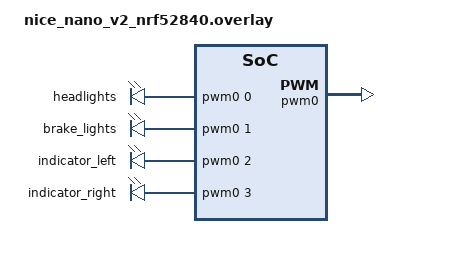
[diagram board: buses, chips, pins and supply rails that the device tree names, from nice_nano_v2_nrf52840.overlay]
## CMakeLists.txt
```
cmake_minimum_required(VERSION 3.20.0)
find_package(Zephyr REQUIRED HINTS $ENV{ZEPHYR_BASE})

project(BikeLightsFirmware)

target_sources(app PRIVATE src/main.c src/ble.c src/dfu.c src/led.c src/config.c)
target_include_directories(app PRIVATE src)
```

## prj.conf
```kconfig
# Enable Drivers
CONFIG_BT=y
CONFIG_LED=y
CONFIG_PWM=y
CONFIG_LED_PWM=y

# Configure Logging
CONFIG_LOG=y
CONFIG_LOG_PRINTK=y
CONFIG_LOG_BACKEND_BLE=y
CONFIG_LOG_PROCESS_THREAD_STACK_SIZE=2048

# Configure Bluetooth Peripheral
CONFIG_BT_SMP=y
CONFIG_BT_PERIPHERAL=y
CONFIG_BT_DEVICE_NAME="ThinkAlex - Bike Lights"
CONFIG_BT_MAX_CONN=1
CONFIG_BT_MAX_PAIRED=1

# Configure settings
CONFIG_SETTINGS_RUNTIME=y
```

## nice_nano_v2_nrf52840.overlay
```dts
// To get started, press Ctrl+Space (or Option+Esc) to bring up the completion menu and view the available nodes.

// You can also use the buttons in the sidebar to perform actions on nodes.
// Actions currently available include:

// * Enabling / disabling the node
// * Adding the bus to a bus
// * Removing the node
// * Connecting ADC channels

// For more help, browse the DeviceTree documentation at https://docs.zephyrproject.org/latest/guides/dts/index.html
// You can also visit the nRF DeviceTree extension documentation at https://docs.nordicsemi.com/bundle/nrf-connect-vscode/page/guides/ncs_configure_app.html#devicetree-support-in-the-extension

/ {
    pwmleds {
        compatible = "pwm-leds";
        headlights: pwm_led_0 {
            label = "headlights";
            pwms = <&pwm0 0 PWM_KHZ(1) PWM_POLARITY_NORMAL>;
        };
        brake_lights: pwm_led_1 {
            label = "brake_lights";
            pwms = <&pwm0 1 PWM_KHZ(1) PWM_POLARITY_NORMAL>;
        };
        indicator_left: pwm_led_2 {
            label = "indicator_left";
            pwms = <&pwm0 2 PWM_KHZ(1) PWM_POLARITY_NORMAL>;
        };
        indicator_right: pwm_led_3 {
            label = "indicator_right";
            pwms = <&pwm0 3 PWM_KHZ(1) PWM_POLARITY_NORMAL>;
        };
    };
};

&pwm0 {
	status = "okay";
	pinctrl-0 = <&pwm0_default>;
	pinctrl-1 = <&pwm0_sleep>;
	pinctrl-names = "default", "sleep";
};

&pwm0_default {
    group1 {
        psels = <NRF_PSEL(PWM_OUT0, 1, 13)>,
                <NRF_PSEL(PWM_OUT1, 0, 15)>,
                <NRF_PSEL(PWM_OUT2, 1, 11)>;
    };

    group2 {
        psels = <NRF_PSEL(PWM_OUT3, 0, 10)>;
    };
};
```

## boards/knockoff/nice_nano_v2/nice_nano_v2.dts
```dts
/ {
    model = "nice_nano_v2";
     compatible = "knockoff,nice_nano_v2";
 
     chosen {
         zephyr,code-partition = &code_partition;
         zephyr,sram = &sram0;
         zephyr,flash = &flash0;
         zephyr,console = &cdc_acm_uart0;
         zephyr,shell-uart = &cdc_acm_uart0;
     };
 
     leds {
         compatible = "gpio-leds";
         red_led: led_0 {
             gpios = <&gpio0 15 GPIO_ACTIVE_HIGH>;
         };
     };

    pro_micro: connector {
        compatible = "arduino-pro-micro";
        #gpio-cells = <2>;
        gpio-map-mask = <0xffffffff 0xffffffc0>;
        gpio-map-pass-thru = <0 0x3f>;
        gpio-map
            = <0 0 &gpio0 8 0>      /* D0 */
            , <1 0 &gpio0 6 0>      /* D1 */
            , <2 0 &gpio0 17 0>     /* D2 */
            , <3 0 &gpio0 20 0>     /* D3 */
            , <4 0 &gpio0 22 0>     /* D4/A6 */
            , <5 0 &gpio0 24 0>     /* D5 */
            , <6 0 &gpio1 0 0>      /* D6/A7 */
            , <7 0 &gpio0 11 0>     /* D7 */
            , <8 0 &gpio1 4 0>      /* D8/A8 */
            , <9 0 &gpio1 6 0>      /* D9/A9 */
            , <10 0 &gpio0 9 0>     /* D10/A10 */
            , <16 0 &gpio0 10 0>    /* D16 */
            , <14 0 &gpio1 11 0>    /* D14 */
            , <15 0 &gpio1 13 0>    /* D15 */
            , <18 0 &gpio1 15 0>    /* D18/A0 */
            , <19 0 &gpio0 2 0>     /* D19/A1 */
            , <20 0 &gpio0 29 0>    /* D20/A2 */
            , <21 0 &gpio0 31 0>    /* D21/A3 */
            ;
    };

    pro_micro_a: connector_a {
        compatible = "arduino-pro-micro";
        #gpio-cells = <2>;
        gpio-map-mask = <0xffffffff 0xffffffc0>;
        gpio-map-pass-thru = <0 0x3f>;
        gpio-map
            = <0 0 &gpio1 15 0> /* D18/A0 */
            , <1 0 &gpio0 2 0>  /* D19/A1 */
            , <2 0 &gpio0 29 0> /* D20/A2 */
            , <3 0 &gpio0 31 0> /* D21/A3 */
            , <6 0 &gpio0 22 0> /* D4/A6 */
            , <7 0 &gpio1 0 0>  /* D6/A7 */
            , <8 0 &gpio1 4 0>  /* D8/A8 */
            , <9 0 &gpio1 6 0>  /* D9/A9 */
            , <10 0 &gpio0 9 0> /* D10/A10 */
            ;
    };
};

&adc {
    status = "okay";
};

&gpiote {
    status = "okay";
};

&gpio0 {
    status = "okay";
};

&gpio1 {
    status = "okay";
};

&i2c0 {
    compatible = "nordic,nrf-twi";
    pinctrl-0 = <&i2c0_default>;
    pinctrl-1 = <&i2c0_sleep>;
    pinctrl-names = "default", "sleep";
};

&spi1 {
    compatible = "nordic,nrf-spim";
    pinctrl-0 = <&spi1_default>;
    pinctrl-1 = <&spi1_sleep>;
    pinctrl-names = "default", "sleep";
};

&uart0 {
    status = "okay";
    compatible = "nordic,nrf-uarte";
    current-speed = <115200>;
    pinctrl-0 = <&uart0_default>;
    pinctrl-1 = <&uart0_sleep>;
    pinctrl-names = "default", "sleep";
};

zephyr_udc0: &usbd {
    status = "okay";
};


&flash0 {
    /*
     * For more information, see:
     * http://docs.zephyrproject.org/latest/devices/dts/flash_partitions.html
     */
    partitions {
        compatible = "fixed-partitions";
        #address-cells = <1>;
        #size-cells = <1>;

        sd_partition: partition@0 {
            reg = <0x00000000 0x00026000>;
        };
        code_partition: partition@26000 {
            reg = <0x00026000 0x000c6000>;
        };

        /*
         * The flash starting at 0x000ec000 and ending at
         * 0x000f3fff is reserved for use by the application.
         */

        /*
         * Storage partition will be used by FCB/LittleFS/NVS
         * if enabled.
         */
        storage_partition: partition@ec000 {
            reg = <0x000ec000 0x00008000>;
        };

        boot_partition: partition@f4000 {
            reg = <0x000f4000 0x0000c000>;
        };
    };
};

zephyr_udc0: &usbd {
   compatible = "nordic,nrf-usbd";
   status = "okay";
   cdc_acm_uart0: cdc_acm_uart0 {
       compatible = "zephyr,cdc-acm-uart";
       label = "CDC_ACM_0";
   };
};

&pinctrl {
    uart0_default: uart0_default {
        group1 {
            psels = <NRF_PSEL(UART_RX, 0, 8)>;
            bias-pull-up;
        };
        group2 {
            psels = <NRF_PSEL(UART_TX, 0, 6)>;
        };
    };

    uart0_sleep: uart0_sleep {
        group1 {
            psels = <NRF_PSEL(UART_RX, 0, 8)>,
                <NRF_PSEL(UART_TX, 0, 6)>;
            low-power-enable;
        };
    };

    i2c0_default: i2c0_default {
        group1 {
            psels = <NRF_PSEL(TWIM_SDA, 0, 17)>,
                <NRF_PSEL(TWIM_SCL, 0, 20)>;
        };
    };

    i2c0_sleep: i2c0_sleep {
        group1 {
            psels = <NRF_PSEL(TWIM_SDA, 0, 17)>,
                <NRF_PSEL(TWIM_SCL, 0, 20)>;
            low-power-enable;
        };
    };

    spi1_default: spi1_default {
        group1 {
            psels = <NRF_PSEL(SPIM_SCK, 1, 13)>,
                <NRF_PSEL(SPIM_MOSI, 0, 10)>,
                <NRF_PSEL(SPIM_MISO, 1, 11)>;
        };
    };

    spi1_sleep: spi1_sleep {
        group1 {
            psels = <NRF_PSEL(SPIM_SCK, 1, 13)>,
                <NRF_PSEL(SPIM_MOSI, 0, 10)>,
                <NRF_PSEL(SPIM_MISO, 1, 11)>;
            low-power-enable;
        };
    };
};


pro_micro_d: &pro_micro {};
pro_micro_i2c: &i2c0 {};
pro_micro_spi: &spi1 {};
pro_micro_serial: &uart0 {};
```

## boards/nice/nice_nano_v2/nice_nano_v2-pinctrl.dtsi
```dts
&pinctrl {
    uart0_default: uart0_default {
        group1 {
            psels = <NRF_PSEL(UART_RX, 0, 8)>;
            bias-pull-up;
        };
        group2 {
            psels = <NRF_PSEL(UART_TX, 0, 6)>;
        };
    };

    uart0_sleep: uart0_sleep {
        group1 {
            psels = <NRF_PSEL(UART_RX, 0, 8)>,
                    <NRF_PSEL(UART_TX, 0, 6)>;
            low-power-enable;
        };
    };

    i2c0_default: i2c0_default {
        group1 {
            psels = <NRF_PSEL(TWIM_SDA, 0, 17)>,
                    <NRF_PSEL(TWIM_SCL, 0, 20)>;
        };
    };

    i2c0_sleep: i2c0_sleep {
        group1 {
            psels = <NRF_PSEL(TWIM_SDA, 0, 17)>,
                    <NRF_PSEL(TWIM_SCL, 0, 20)>;
            low-power-enable;
        };
    };

    spi1_default: spi1_default {
        group1 {
            psels = <NRF_PSEL(SPIM_SCK, 1, 13)>,
                    <NRF_PSEL(SPIM_MOSI, 0, 10)>,
                    <NRF_PSEL(SPIM_MISO, 1, 11)>;
        };
    };

    spi1_sleep: spi1_sleep {
        group1 {
            psels = <NRF_PSEL(SPIM_SCK, 1, 13)>,
                    <NRF_PSEL(SPIM_MOSI, 0, 10)>,
                    <NRF_PSEL(SPIM_MISO, 1, 11)>;
            low-power-enable;
        };
    };


    /* COPIED FROM NRF9160DONGLE -- MAY NOT WORK */
    pwm0_default: pwm0_default {
        group1 {
            psels = <NRF_PSEL(PWM_OUT0, 0, 8)>,
                    <NRF_PSEL(PWM_OUT1, 1, 9)>,
                    <NRF_PSEL(PWM_OUT2, 0, 12)>;
            nordic,invert;
        };
    };

    pwm0_sleep: pwm0_sleep {
        group1 {
            psels = <NRF_PSEL(PWM_OUT0, 0, 8)>,
                    <NRF_PSEL(PWM_OUT1, 1, 9)>,
                    <NRF_PSEL(PWM_OUT2, 0, 12)>;
            low-power-enable;
        };
    };

};
```

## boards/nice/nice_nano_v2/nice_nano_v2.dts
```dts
/dts-v1/;
#include <nordic/nrf52840_qiaa.dtsi>
#include "nice_nano_v2-pinctrl.dtsi"

/ {
	model = "nice!nano v2";
	compatible = "nice,nice-nano-v2";

	chosen {
		zephyr,sram = &sram0;
		zephyr,flash = &flash0;
		zephyr,code-partition = &code_partition;
		zephyr,console = &cdc_acm_uart0;
        zephyr,settings-partition = &storage_partition;
	};

	leds {
        compatible = "gpio-leds";
        status_led: led_0 {
            gpios = <&gpio0 15 GPIO_ACTIVE_HIGH>;
        };
    };
};

&flash0 {
    partitions {
        compatible = "fixed-partitions";
        #address-cells = <1>;
        #size-cells = <1>;

        sd_partition: partition@0 {
            reg = <0x00000000 0x00026000>;
        };

        code_partition: partition@26000 {
            reg = <0x00026000 0x000c6000>;
        };

        storage_partition: partition@ec000 {
            reg = <0x000ec000 0x00008000>;
        };

        boot_partition: partition@f4000 {
            reg = <0x000f4000 0x0000c000>;
        };
    };
};

&adc {
    status = "okay";
};

&gpiote {
    status = "okay";
};

&gpio0 {
    status = "okay";
};

&gpio1 {
    status = "okay";
};

&i2c0 {
    compatible = "nordic,nrf-twi";
    pinctrl-0 = <&i2c0_default>;
    pinctrl-1 = <&i2c0_sleep>;
    pinctrl-names = "default", "sleep";
};

&spi1 {
    compatible = "nordic,nrf-spim";
    pinctrl-0 = <&spi1_default>;
    pinctrl-1 = <&spi1_sleep>;
    pinctrl-names = "default", "sleep";
};

&uart0 {
    compatible = "nordic,nrf-uarte";
    current-speed = <115200>;
    pinctrl-0 = <&uart0_default>;
    pinctrl-1 = <&uart0_sleep>;
    pinctrl-names = "default", "sleep";
};

&reg1 {
	regulator-initial-mode = <NRF5X_REG_MODE_DCDC>;
};

&reg0 {
    status = "okay";
};

zephyr_udc0: &usbd {
	compatible = "nordic,nrf-usbd";
	status = "okay";
	cdc_acm_uart0: cdc_acm_uart0 {
		compatible = "zephyr,cdc-acm-uart";
	};
};
```

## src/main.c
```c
#include "ble.h"
#include "config.h"
#include "led.h"
#include <zephyr/kernel.h>

int main(void)
{
        initialize_leds();
        initialize_settings();
        start_ble();

        return 0;
}
```

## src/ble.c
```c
#include "ble.h"
#include "dfu.h"
#include "config.h"

#include <sys/_intsup.h>
#include <zephyr/bluetooth/gatt.h>
#include <zephyr/bluetooth/gatt.h>
#include <zephyr/bluetooth/hci.h>
#include <zephyr/logging/log.h>
#include <zephyr/logging/log_backend_ble.h>

// Custom Services
BT_GATT_SERVICE_DEFINE(dfu_svc, BT_GATT_PRIMARY_SERVICE(BT_UUID_DFU_SERVICE),
 BT_GATT_CHARACTERISTIC(BT_UUID_DFU_CHAR, BT_GATT_CHRC_WRITE_WITHOUT_RESP, BT_GATT_PERM_WRITE, NULL, write_dfu, NULL));

BT_GATT_SERVICE_DEFINE(config_svc, BT_GATT_PRIMARY_SERVICE(BT_UUID_CONFIG_SERVICE),
    BT_GATT_CHARACTERISTIC(BT_UUID_CONFIG_MODE_CHAR, BT_GATT_CHRC_READ | BT_GATT_CHRC_WRITE, BT_GATT_PERM_READ | BT_GATT_PERM_WRITE, get_mode, set_mode, NULL),
    BT_GATT_CHARACTERISTIC(BT_UUID_CONFIG_BLINKING_SPEED_CHAR, BT_GATT_CHRC_READ | BT_GATT_CHRC_WRITE, BT_GATT_PERM_READ | BT_GATT_PERM_WRITE, get_blinking_speed, set_blinking_speed, NULL),
    BT_GATT_CHARACTERISTIC(BT_UUID_CONFIG_HEADLIGHT_BRIGTHNESS_CHAR, BT_GATT_CHRC_READ | BT_GATT_CHRC_WRITE, BT_GATT_PERM_READ | BT_GATT_PERM_WRITE, get_headlight_brightness, set_headlight_brightness, NULL),
    BT_GATT_CHARACTERISTIC(BT_UUID_CONFIG_BRAKE_IDLE_BRIGTHNESS_CHAR, BT_GATT_CHRC_READ | BT_GATT_CHRC_WRITE, BT_GATT_PERM_READ | BT_GATT_PERM_WRITE, get_brake_idle_brightness, set_brake_idle_brightness, NULL),
    BT_GATT_CHARACTERISTIC(BT_UUID_CONFIG_BRAKE_BRAKING_BRIGTHNESS_CHAR, BT_GATT_CHRC_READ | BT_GATT_CHRC_WRITE, BT_GATT_PERM_READ | BT_GATT_PERM_WRITE, get_brake_braking_brightness, set_brake_braking_brightness, NULL),
    BT_GATT_CHARACTERISTIC(BT_UUID_CONFIG_BLINKER_BRIGTHNESS_CHAR, BT_GATT_CHRC_READ | BT_GATT_CHRC_WRITE, BT_GATT_PERM_READ | BT_GATT_PERM_WRITE, get_blinker_brightness, set_blinker_brightness, NULL),
    BT_GATT_CHARACTERISTIC(BT_UUID_CONFIG_BRAKE_MODE_CHAR, BT_GATT_CHRC_READ | BT_GATT_CHRC_WRITE, BT_GATT_PERM_READ | BT_GATT_PERM_WRITE, get_brake_mode, set_brake_mode, NULL),
    BT_GATT_CHARACTERISTIC(BT_UUID_CONFIG_BLINKER_MODE_CHAR, BT_GATT_CHRC_READ | BT_GATT_CHRC_WRITE, BT_GATT_PERM_READ | BT_GATT_PERM_WRITE, get_blinker_mode, set_blinker_mode, NULL),
    );

// Register log module
LOG_MODULE_REGISTER(ble_log);

// Bluetooth advertising data
static const struct bt_data ad[] = {
    BT_DATA_BYTES(BT_DATA_FLAGS, (BT_LE_AD_GENERAL | BT_LE_AD_NO_BREDR)),
    BT_DATA_BYTES(BT_DATA_UUID128_ALL, LOGGER_BACKEND_BLE_ADV_UUID_DATA),
};

static const struct bt_data sd[] = {
    BT_DATA(BT_DATA_NAME_COMPLETE, CONFIG_BT_DEVICE_NAME,
            sizeof(CONFIG_BT_DEVICE_NAME) - 1),
};

// Advertising
static int start_advertising(void) {
    int err;

    err = bt_le_adv_start(BT_LE_ADV_CONN, ad, ARRAY_SIZE(ad), sd, ARRAY_SIZE(sd));
    if (err) {
        LOG_ERR("Advertising failed to start (err %d)", err);
        return err;
    }

    LOG_INF("Advertising successfully started");
    return 0;
}

// Bluetooth Connection Callbacks
static void connected(struct bt_conn *conn, uint8_t err) {
    if (err) {
        LOG_ERR("Connection failed (err %u %s)", err, bt_hci_err_to_str(err));
    } else {
        LOG_INF("Connected");
    }
}

static void disconnected(struct bt_conn *conn, uint8_t reason) {
    LOG_INF("Disconnected (reason %u %s)", reason, bt_hci_err_to_str(reason));
    start_advertising();
}

struct bt_conn_cb cb_callbacks = {
.connected = connected,
.disconnected = disconnected,
};

// Logging Backend Hook
static void backend_ble_hook(bool status, void *ctx) {
    ARG_UNUSED(ctx);

    // Log status
    if (status) {
        LOG_INF("BLE Logging Backend Enabled");
    } else {
        LOG_INF("BLE Logging Backend Disabled");
    }
}

// Bluetooth Initialization
int start_ble(void) {
    int err;

    // Configure logging backend
    logger_backend_ble_set_hook(backend_ble_hook, NULL);

    // Enable bluetooth
    err = bt_enable(NULL);
    if (err) {
        LOG_ERR("Bluetooth initialization failed (err %d)", err);
        return err;
    }

    // Register connection callbacks
    err = bt_conn_cb_register(&cb_callbacks);
    if (err) {
        LOG_ERR("Connection callbacks registration failed (err %d)", err);
        return err;
    }

    // Start advertising
    err = start_advertising();
    if (err) {
        LOG_ERR("Advertising failed to start (err %d)", err);
        return err;
    }

    return 0;
}
```

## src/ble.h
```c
#pragma once

// Custom services (DFU)
// UUID (Text): thin-ka-le-xd-fu000000##
// UUID (HEX): 7468696e-6b61-6c65-7864-6675000000##
#define BT_UUID_DFU_SERVICE_VAL \
    BT_UUID_128_ENCODE(0x7468696e, 0x6b61, 0x6c65, 0x7864, 0x667500000000)

#define BT_UUID_DFU_CHAR_VAL \
    BT_UUID_128_ENCODE(0x7468696e, 0x6b61, 0x6c65, 0x7864, 0x667500000001)

// Custom services (config)
// UUID (Text): thin-ka-le-xc-onfig##
// UUID (HEX): 7468696e-6b61-6c65-7863-6f6e666967##

#define BT_UUID_CONFIG_SERVICE_VAL \
    BT_UUID_128_ENCODE(0x7468696e, 0x6b61, 0x6c65, 0x7863, 0x6f6e66696700) // Service

#define BT_UUID_CONFIG_MODE_CHAR_VAL \
    BT_UUID_128_ENCODE(0x7468696e, 0x6b61, 0x6c65, 0x7863, 0x6f6e66696701) // Characteristic - All - Mode (Off / Rear Only / All On)

#define BT_UUID_CONFIG_BLINKING_SPEED_CHAR_VAL \
    BT_UUID_128_ENCODE(0x7468696e, 0x6b61, 0x6c65, 0x7863, 0x6f6e66696702) // Characteristic - All - Blinking Speed - ms per blink

#define BT_UUID_CONFIG_HEADLIGHT_BRIGTHNESS_CHAR_VAL \
    BT_UUID_128_ENCODE(0x7468696e, 0x6b61, 0x6c65, 0x7863, 0x6f6e66696703) // Characteristic - Headlight - Brightness

#define BT_UUID_CONFIG_BRAKE_IDLE_BRIGTHNESS_CHAR_VAL \
    BT_UUID_128_ENCODE(0x7468696e, 0x6b61, 0x6c65, 0x7863, 0x6f6e66696704) // Characteristic - Brake - Brightness (Idle)

#define BT_UUID_CONFIG_BRAKE_BRAKING_BRIGTHNESS_CHAR_VAL \
    BT_UUID_128_ENCODE(0x7468696e, 0x6b61, 0x6c65, 0x7863, 0x6f6e66696705) // Characteristic - Brake - Brightness (Braking)

#define BT_UUID_CONFIG_BLINKER_BRIGTHNESS_CHAR_VAL \
    BT_UUID_128_ENCODE(0x7468696e, 0x6b61, 0x6c65, 0x7863, 0x6f6e66696706) // Characteristic - Blinkers - Brightness

#define BT_UUID_CONFIG_BRAKE_MODE_CHAR_VAL \
    BT_UUID_128_ENCODE(0x7468696e, 0x6b61, 0x6c65, 0x7863, 0x6f6e66696707) // Characteristic - Brake - Mode (Idle / Braking)

#define BT_UUID_CONFIG_BLINKER_MODE_CHAR_VAL \
    BT_UUID_128_ENCODE(0x7468696e, 0x6b61, 0x6c65, 0x7863, 0x6f6e66696708) // Characteristic - Blinkers - Mode (Off / Left / Right / Hazard)

#define BT_UUID_DFU_SERVICE                             BT_UUID_DECLARE_128(BT_UUID_DFU_SERVICE_VAL)
#define BT_UUID_DFU_CHAR                                BT_UUID_DECLARE_128(BT_UUID_DFU_CHAR_VAL)

#define BT_UUID_CONFIG_SERVICE                          BT_UUID_DECLARE_128(BT_UUID_CONFIG_SERVICE_VAL)
#define BT_UUID_CONFIG_MODE_CHAR                        BT_UUID_DECLARE_128(BT_UUID_CONFIG_MODE_CHAR_VAL)
#define BT_UUID_CONFIG_BLINKING_SPEED_CHAR              BT_UUID_DECLARE_128(BT_UUID_CONFIG_BLINKING_SPEED_CHAR_VAL)
#define BT_UUID_CONFIG_HEADLIGHT_BRIGTHNESS_CHAR        BT_UUID_DECLARE_128(BT_UUID_CONFIG_HEADLIGHT_BRIGTHNESS_CHAR_VAL)
#define BT_UUID_CONFIG_BRAKE_IDLE_BRIGTHNESS_CHAR       BT_UUID_DECLARE_128(BT_UUID_CONFIG_BRAKE_IDLE_BRIGTHNESS_CHAR_VAL)
#define BT_UUID_CONFIG_BRAKE_BRAKING_BRIGTHNESS_CHAR    BT_UUID_DECLARE_128(BT_UUID_CONFIG_BRAKE_BRAKING_BRIGTHNESS_CHAR_VAL)
#define BT_UUID_CONFIG_BLINKER_BRIGTHNESS_CHAR          BT_UUID_DECLARE_128(BT_UUID_CONFIG_BLINKER_BRIGTHNESS_CHAR_VAL)
#define BT_UUID_CONFIG_BLINKER_MODE_CHAR                BT_UUID_DECLARE_128(BT_UUID_CONFIG_BLINKER_MODE_CHAR_VAL)
#define BT_UUID_CONFIG_BRAKE_MODE_CHAR                  BT_UUID_DECLARE_128(BT_UUID_CONFIG_BRAKE_MODE_CHAR_VAL)

int start_ble(void);
```

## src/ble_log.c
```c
#include "ble_log.h"

#include <sys/_intsup.h>
#include <zephyr/bluetooth/gatt.h>
#include <zephyr/bluetooth/gatt.h>
#include <zephyr/bluetooth/hci.h>
#include <zephyr/logging/log.h>
#include <zephyr/logging/log_backend_ble.h>

// Register log module
LOG_MODULE_REGISTER(ble_log);

// Bluetooth advertising data
static const struct bt_data ad[] = {
    BT_DATA_BYTES(BT_DATA_FLAGS, (BT_LE_AD_GENERAL | BT_LE_AD_NO_BREDR)),
    BT_DATA_BYTES(BT_DATA_UUID128_ALL, LOGGER_BACKEND_BLE_ADV_UUID_DATA),
};

static const struct bt_data sd[] = {
    BT_DATA(BT_DATA_NAME_COMPLETE, CONFIG_BT_DEVICE_NAME,
            sizeof(CONFIG_BT_DEVICE_NAME) - 1),
};

// Advertising
static int start_advertising(void) {
    int err;

    err = bt_le_adv_start(BT_LE_ADV_CONN, ad, ARRAY_SIZE(ad), sd, ARRAY_SIZE(sd));
    if (err) {
        LOG_ERR("Advertising failed to start (err %d)", err);
        return err;
    }

    LOG_INF("Advertising successfully started");
    return 0;
}

// Bluetooth Connection Callbacks
static void connected(struct bt_conn *conn, uint8_t err) {
    if (err) {
        LOG_ERR("Connection failed (err %u %s)", err, bt_hci_err_to_str(err));
    } else {
        LOG_INF("Connected");
    }
}

static void disconnected(struct bt_conn *conn, uint8_t reason) {
    LOG_INF("Disconnected (reason %u %s)", reason, bt_hci_err_to_str(reason));
    start_advertising();
}

struct bt_conn_cb cb_callbacks = {
.connected = connected,
.disconnected = disconnected,
};

// Logging Backend Hook
static void backend_ble_hook(bool status, void *ctx) {
    ARG_UNUSED(ctx);

    // Log status
    if (status) {
        LOG_INF("BLE Logging Backend Enabled");
    } else {
        LOG_INF("BLE Logging Backend Disabled");
    }
}

// Bluetooth Initialization
int start_ble(void) {
    int err;

    // Configure logging backend
    logger_backend_ble_set_hook(backend_ble_hook, NULL);

    // Enable bluetooth
    err = bt_enable(NULL);
    if (err) {
        LOG_ERR("Bluetooth initialization failed (err %d)", err);
        return err;
    }

    // Register connection callbacks
    err = bt_conn_cb_register(&cb_callbacks);
    if (err) {
        LOG_ERR("Connection callbacks registration failed (err %d)", err);
        return err;
    }

    // Start advertising
    err = start_advertising();
    if (err) {
        LOG_ERR("Advertising failed to start (err %d)", err);
        return err;
    }

    return 0;
}
```

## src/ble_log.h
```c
#pragma once

int start_ble(void);
```

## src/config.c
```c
#include "config.h"

#include <zephyr/logging/log.h>
#include <zephyr/settings/settings.h>

LOG_MODULE_REGISTER(config);

struct light_config config = {.mode = GLOBAL_OFF,
                              .blinking_speed = 500,
                              .headlight_brightness = 100,
                              .brake_idle_brightness = 50,
                              .brake_braking_brightness = 100,
                              .blinker_brightness = 100,
                              .brake_mode = BRAKE_IDLE,
                              .blinker_mode = BLINKER_OFF,
                              };

// Mutex for settings
K_MUTEX_DEFINE(config_mutex);
K_MSGQ_DEFINE(config_msgq, sizeof(struct light_config), 10, 4);

// Notify LED thread
static void notify_config_change(void) {
  // Send updated config to message queue
  k_mutex_lock(&config_mutex, K_FOREVER);
  k_msgq_put(&config_msgq, &config, K_NO_WAIT);
  k_mutex_unlock(&config_mutex);
}

// Handlers for Settings API
static int handle_get(const char *name, char *val, int val_len) {

  // Lock the mutex
  k_mutex_lock(&config_mutex, K_FOREVER);

  // Switch on the name of the setting
  if (!strcmp(name, "mode")) {

    if (val_len != sizeof(enum GlobalMode)) {
      k_mutex_unlock(&config_mutex);
      return -EINVAL;
    }
    memcpy(val, &config.mode, sizeof(enum GlobalMode));
    k_mutex_unlock(&config_mutex);
    return sizeof(enum GlobalMode);

  } else if (!strcmp(name, "blinking_speed")) {

    if (val_len != sizeof(int)) {
      k_mutex_unlock(&config_mutex);
      return -EINVAL;
    }

    memcpy(val, &config.blinking_speed, sizeof(int));
    k_mutex_unlock(&config_mutex);
    return sizeof(int);

  } else if (!strcmp(name, "headlight_brightness")) {

    if (val_len != sizeof(int)) {
      k_mutex_unlock(&config_mutex);
      return -EINVAL;
    }

    memcpy(val, &config.headlight_brightness, sizeof(int));
    k_mutex_unlock(&config_mutex);
    return sizeof(int);

  } else if (!strcmp(name, "brake_idle_brightness")) {

    if (val_len != sizeof(int)) {
      k_mutex_unlock(&config_mutex);
      return -EINVAL;
    }

    memcpy(val, &config.brake_idle_brightness, sizeof(int));
    k_mutex_unlock(&config_mutex);
    return sizeof(int);

  } else if (!strcmp(name, "brake_braking_brightness")) {

    if (val_len != sizeof(int)) {
      k_mutex_unlock(&config_mutex);
      return -EINVAL;
    }

    memcpy(val, &config.brake_braking_brightness, sizeof(int));
    k_mutex_unlock(&config_mutex);
    return sizeof(int);

  } else if (!strcmp(name, "blinker_brightness")) {

    if (val_len != sizeof(int)) {
      k_mutex_unlock(&config_mutex);
      return -EINVAL;
    }

    memcpy(val, &config.blinker_brightness, sizeof(int));
    k_mutex_unlock(&config_mutex);
    return sizeof(int);

  } else if (!strcmp(name, "brake_mode")) {

    if (val_len != sizeof(enum BrakeMode)) {
      k_mutex_unlock(&config_mutex);
      return -EINVAL;
    }

    memcpy(val, &config.brake_mode, sizeof(enum BrakeMode));
    k_mutex_unlock(&config_mutex);
    return sizeof(enum BrakeMode);
  } else if (!strcmp(name, "blinker_mode")) {

    if (val_len != sizeof(enum BlinkerMode)) {
      k_mutex_unlock(&config_mutex);
      return -EINVAL;
    }

    memcpy(val, &config.blinker_mode, sizeof(enum BlinkerMode));
    k_mutex_unlock(&config_mutex);
    return sizeof(enum BlinkerMode);
  }

  // Unlock the mutex
  k_mutex_unlock(&config_mutex);
  return -ENOENT;
}

static int handle_set(const char *name, size_t len, settings_read_cb read_cb,
                      void *cb_arg) {
  int err;
  LOG_INF("SETTING VALUE");

  // Lock the mutex
  k_mutex_lock(&config_mutex, K_FOREVER);

  if (strcmp(name, "mode") == 0) {
    err = read_cb(cb_arg, &config.mode, sizeof(config.mode));
    if (err < 0) {
      k_mutex_unlock(&config_mutex);
      return err;
    }

    k_mutex_unlock(&config_mutex);
    notify_config_change();
    return 0;
  } else if (strcmp(name, "blinking_speed") == 0) {
    err =
        read_cb(cb_arg, &config.blinking_speed, sizeof(config.blinking_speed));
    if (err < 0) {
      k_mutex_unlock(&config_mutex);
      return err;
    }

    k_mutex_unlock(&config_mutex);
    notify_config_change();
    return 0;
  } else if (strcmp(name, "headlight_brightness") == 0) {
    err = read_cb(cb_arg, &config.headlight_brightness,
                  sizeof(config.headlight_brightness));
    if (err < 0) {
      k_mutex_unlock(&config_mutex);
      return err;
    }

    k_mutex_unlock(&config_mutex);
    notify_config_change();
    return 0;
  } else if (strcmp(name, "brake_idle_brightness") == 0) {
    err = read_cb(cb_arg, &config.brake_idle_brightness,
                  sizeof(config.brake_idle_brightness));
    if (err < 0) {
      k_mutex_unlock(&config_mutex);
      return err;
    }

    k_mutex_unlock(&config_mutex);
    notify_config_change();
    return 0;
  } else if (strcmp(name, "brake_braking_brightness") == 0) {
    err = read_cb(cb_arg, &config.brake_braking_brightness,
                  sizeof(config.brake_braking_brightness));
    if (err < 0) {
      k_mutex_unlock(&config_mutex);
      return err;
    }

    k_mutex_unlock(&config_mutex);
    notify_config_change();
    return 0;
  } else if (strcmp(name, "blinker_brightness") == 0) {
    err = read_cb(cb_arg, &config.blinker_brightness,
                  sizeof(config.blinker_brightness));
    if (err < 0) {
      k_mutex_unlock(&config_mutex);
      return err;
    }

    k_mutex_unlock(&config_mutex);
    notify_config_change();
    return 0;
  } else if (strcmp(name, "brake_mode") == 0) {
    err = read_cb(cb_arg, &config.brake_mode, sizeof(config.brake_mode));
    if (err < 0) {
      k_mutex_unlock(&config_mutex);
      return err;
    }

    k_mutex_unlock(&config_mutex);
    notify_config_change();
    return 0;
  } else if (strcmp(name, "blinker_mode") == 0) {
    err = read_cb(cb_arg, &config.blinker_mode, sizeof(config.blinker_mode));
    if (err < 0) {
      k_mutex_unlock(&config_mutex);
      return err;
    }

    k_mutex_unlock(&config_mutex);
    notify_config_change();
    return 0;
  } else {
    // Unlock the mutex
    k_mutex_unlock(&config_mutex);

    return -ENOENT;
  }
}

struct settings_handler settings_config = {
    .name = "config",
    .h_get = handle_get,
    .h_set = handle_set,
    .h_commit = NULL,
    .h_export = NULL,
};

// Initialize the settings
int initialize_settings(void) {
  int err;

  err = settings_subsys_init();
  if (err) {
    LOG_ERR("Failed to initialize settings subsystem (err %d)", err);
    return err;
  }

  // Register handlers
  settings_register(&settings_config);

  err = settings_load();
  if (err) {
    LOG_ERR("Failed to load settings (err %d)", err);
    return err;
  }

  return 0;
};

// BLE Getters
ssize_t get_mode(struct bt_conn *conn, const struct bt_gatt_attr *attr,
                 void *buf, uint16_t len, uint16_t offset) {
  int err;

  err = settings_runtime_get("config/mode", &config.mode, sizeof(config.mode));
  if (err < 0) {
    LOG_ERR("Failed to get mode (err %d)", err);
    return BT_GATT_ERR(BT_ATT_ERR_UNLIKELY);
  }

  return bt_gatt_attr_read(conn, attr, buf, len, offset, &config.mode,
                           sizeof(config.mode));
};

ssize_t get_blinking_speed(struct bt_conn *conn, const struct bt_gatt_attr *attr,
                           void *buf, uint16_t len, uint16_t offset) {
  int err;

  err = settings_runtime_get("config/blinking_speed", &config.blinking_speed,
                             sizeof(config.blinking_speed));
  if (err < 0) {
    LOG_ERR("Failed to get blinking speed (err %d)", err);
    return BT_GATT_ERR(BT_ATT_ERR_UNLIKELY);
  }

  return bt_gatt_attr_read(conn, attr, buf, len, offset, &config.blinking_speed,
                           sizeof(config.blinking_speed));
};

ssize_t get_headlight_brightness(struct bt_conn *conn, const struct bt_gatt_attr *attr,
                                 void *buf, uint16_t len, uint16_t offset) {
  int err;

  err = settings_runtime_get("config/headlight_brightness",
                             &config.headlight_brightness,
                             sizeof(config.headlight_brightness));
  if (err < 0) {
    LOG_ERR("Failed to get headlight brightness (err %d)", err);
    return BT_GATT_ERR(BT_ATT_ERR_UNLIKELY);
  }

  return bt_gatt_attr_read(conn, attr, buf, len, offset,
                           &config.headlight_brightness,
                           sizeof(config.headlight_brightness));
};

ssize_t get_brake_idle_brightness(struct bt_conn *conn, const struct bt_gatt_attr *attr,
                                  void *buf, uint16_t len, uint16_t offset) {
  int err;

  err = settings_runtime_get("config/brake_idle_brightness",
                             &config.brake_idle_brightness,
                             sizeof(config.brake_idle_brightness));
  if (err < 0) {
    LOG_ERR("Failed to get brake idle brightness (err %d)", err);
    return BT_GATT_ERR(BT_ATT_ERR_UNLIKELY);
  }

  return bt_gatt_attr_read(conn, attr, buf, len, offset,
                           &config.brake_idle_brightness,
                           sizeof(config.brake_idle_brightness));
};

ssize_t get_brake_braking_brightness(struct bt_conn *conn, const struct bt_gatt_attr *attr,
                                     void *buf, uint16_t len, uint16_t offset) {
  int err;

  err = settings_runtime_get("config/brake_braking_brightness",
                             &config.brake_braking_brightness,
                             sizeof(config.brake_braking_brightness));
  if (err < 0) {
    LOG_ERR("Failed to get brake braking brightness (err %d)", err);
    return BT_GATT_ERR(BT_ATT_ERR_UNLIKELY);
  }

  return bt_gatt_attr_read(conn, attr, buf, len, offset,
                           &config.brake_braking_brightness,
                           sizeof(config.brake_braking_brightness));
};

ssize_t get_blinker_brightness(struct bt_conn *conn, const struct bt_gatt_attr *attr,
                               void *buf, uint16_t len, uint16_t offset) {
  int err;

  err = settings_runtime_get("config/blinker_brightness",
                             &config.blinker_brightness,
                             sizeof(config.blinker_brightness));
  if (err < 0) {
    LOG_ERR("Failed to get blinker brightness (err %d)", err);
    return BT_GATT_ERR(BT_ATT_ERR_UNLIKELY);
  }

  return bt_gatt_attr_read(conn, attr, buf, len, offset,
                           &config.blinker_brightness,
                           sizeof(config.blinker_brightness));
};

ssize_t get_brake_mode(struct bt_conn *conn, const struct bt_gatt_attr *attr,
                       void *buf, uint16_t len, uint16_t offset) {
  int err;

  err = settings_runtime_get("config/brake_mode", &config.brake_mode,
                             sizeof(config.brake_mode));
  if (err < 0) {
    LOG_ERR("Failed to get brake mode (err %d)", err);
    return BT_GATT_ERR(BT_ATT_ERR_UNLIKELY);
  }

  return bt_gatt_attr_read(conn, attr, buf, len, offset, &config.brake_mode,
                           sizeof(config.brake_mode));
};

ssize_t get_blinker_mode(struct bt_conn *conn, const struct bt_gatt_attr *attr,
                         void *buf, uint16_t len, uint16_t offset) {
  int err;

  err = settings_runtime_get("config/blinker_mode", &config.blinker_mode,
                             sizeof(config.blinker_mode));
  if (err < 0) {
    LOG_ERR("Failed to get blinker mode (err %d)", err);
    return BT_GATT_ERR(BT_ATT_ERR_UNLIKELY);
  }

  return bt_gatt_attr_read(conn, attr, buf, len, offset, &config.blinker_mode,
                           sizeof(config.blinker_mode));
};

// BLE Setters
ssize_t set_mode(struct bt_conn *conn, const struct bt_gatt_attr *attr,
                 const void *buf, uint16_t len, uint16_t offset,
                 uint8_t flags) {
  int err;

  if (len != sizeof(enum GlobalMode)) {
    return BT_GATT_ERR(BT_ATT_ERR_INVALID_ATTRIBUTE_LEN);
  }

  memcpy(&config.mode, buf, len);

  // Save the setting
  err = settings_save_one("config/mode", &config.mode, sizeof(config.mode));
  if (err) {
    LOG_ERR("Failed to save mode (err %d)", err);
    return BT_GATT_ERR(BT_ATT_ERR_UNLIKELY);
  }

    notify_config_change();
    LOG_INF("Mode set to %d", config.mode);

  return len;
}

ssize_t set_blinking_speed(struct bt_conn *conn, const struct bt_gatt_attr *attr,
                           const void *buf, uint16_t len, uint16_t offset,
                           uint8_t flags) {
  int err;

  if (len != sizeof(int)) {
    return BT_GATT_ERR(BT_ATT_ERR_INVALID_ATTRIBUTE_LEN);
  }

  memcpy(&config.blinking_speed, buf, len);

  // Save the setting
  err = settings_save_one("config/blinking_speed", &config.blinking_speed,
                          sizeof(config.blinking_speed));
  if (err) {
    LOG_ERR("Failed to save blinking speed (err %d)", err);
    return BT_GATT_ERR(BT_ATT_ERR_UNLIKELY);
  }

    notify_config_change();
    LOG_INF("Blinking speed set to %dms", config.blinking_speed);

  return len;
}

ssize_t set_headlight_brightness(struct bt_conn *conn, const struct bt_gatt_attr *attr,
                                 const void *buf, uint16_t len, uint16_t offset,
                                 uint8_t flags) {
  int err;

  if (len != sizeof(int)) {
    return BT_GATT_ERR(BT_ATT_ERR_INVALID_ATTRIBUTE_LEN);
  }

  memcpy(&config.headlight_brightness, buf, len);

  // Save the setting
  err = settings_save_one("config/headlight_brightness", &config.headlight_brightness,
                          sizeof(config.headlight_brightness));
  if (err) {
    LOG_ERR("Failed to save headlight brightness (err %d)", err);
    return BT_GATT_ERR(BT_ATT_ERR_UNLIKELY);
  }

    notify_config_change();
    LOG_INF("Headlight brightness set to %d%%", config.headlight_brightness);

  return len;
}

ssize_t set_brake_idle_brightness(struct bt_conn *conn, const struct bt_gatt_attr *attr,
                                  const void *buf, uint16_t len, uint16_t offset,
                                  uint8_t flags) {
  int err;

  if (len != sizeof(int)) {
    return BT_GATT_ERR(BT_ATT_ERR_INVALID_ATTRIBUTE_LEN);
  }

  memcpy(&config.brake_idle_brightness, buf, len);

  // Save the setting
  err = settings_save_one("config/brake_idle_brightness", &config.brake_idle_brightness,
                          sizeof(config.brake_idle_brightness));
  if (err) {
    LOG_ERR("Failed to save brake idle brightness (err %d)", err);
    return BT_GATT_ERR(BT_ATT_ERR_UNLIKELY);
  }

    notify_config_change();
    LOG_INF("Brake idle brightness set to %d%%", config.brake_idle_brightness);

  return len;
}

ssize_t set_brake_braking_brightness(struct bt_conn *conn, const struct bt_gatt_attr *attr,
                                     const void *buf, uint16_t len, uint16_t offset,
                                     uint8_t flags) {
  int err;

  if (len != sizeof(int)) {
    return BT_GATT_ERR(BT_ATT_ERR_INVALID_ATTRIBUTE_LEN);
  }

  memcpy(&config.brake_braking_brightness, buf, len);

  // Save the setting
  err = settings_save_one("config/brake_braking_brightness", &config.brake_braking_brightness,
                          sizeof(config.brake_braking_brightness));
  if (err) {
    LOG_ERR("Failed to save brake braking brightness (err %d)", err);
    return BT_GATT_ERR(BT_ATT_ERR_UNLIKELY);
  }

    notify_config_change();
    LOG_INF("Brake braking brightness set to %d%%", config.brake_braking_brightness);

  return len;
}

ssize_t set_blinker_brightness(struct bt_conn *conn, const struct bt_gatt_attr *attr,
                               const void *buf, uint16_t len, uint16_t offset,
                               uint8_t flags) {
  int err;

  if (len != sizeof(int)) {
    return BT_GATT_ERR(BT_ATT_ERR_INVALID_ATTRIBUTE_LEN);
  }

  memcpy(&config.blinker_brightness, buf, len);

  // Save the setting
  err = settings_save_one("config/blinker_brightness", &config.blinker_brightness,
                          sizeof(config.blinker_brightness));
  if (err) {
    LOG_ERR("Failed to save blinker brightness (err %d)", err);
    return BT_GATT_ERR(BT_ATT_ERR_UNLIKELY);
  }

    notify_config_change();
    LOG_INF("Blinker brightness set to %d%%", config.blinker_brightness);

  return len;
}

ssize_t set_brake_mode(struct bt_conn *conn, const struct bt_gatt_attr *attr,
                       const void *buf, uint16_t len, uint16_t offset,
                       uint8_t flags) {
  int err;

  if (len != sizeof(enum BrakeMode)) {
    return BT_GATT_ERR(BT_ATT_ERR_INVALID_ATTRIBUTE_LEN);
  }

  memcpy(&config.brake_mode, buf, len);

  // Save the setting
  err = settings_save_one("config/brake_mode", &config.brake_mode,
                          sizeof(config.brake_mode));
  if (err) {
    LOG_ERR("Failed to save brake mode (err %d)", err);
    return BT_GATT_ERR(BT_ATT_ERR_UNLIKELY);
  }

    notify_config_change();
    LOG_INF("Brake mode set to %d", config.brake_mode);

  return len;
}

ssize_t set_blinker_mode(struct bt_conn *conn, const struct bt_gatt_attr *attr,
                         const void *buf, uint16_t len, uint16_t offset,
                         uint8_t flags) {
  int err;

  if (len != sizeof(enum BlinkerMode)) {
    return BT_GATT_ERR(BT_ATT_ERR_INVALID_ATTRIBUTE_LEN);
  }

  memcpy(&config.blinker_mode, buf, len);

  // Save the setting
  err = settings_save_one("config/blinker_mode", &config.blinker_mode,
                          sizeof(config.blinker_mode));
  if (err) {
    LOG_ERR("Failed to save blinker mode (err %d)", err);
    return BT_GATT_ERR(BT_ATT_ERR_UNLIKELY);
  }

  notify_config_change();
  LOG_INF("Blinker mode set to %d", config.blinker_mode);

  return len;
}
```

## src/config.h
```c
#pragma once

#include <zephyr/bluetooth/att.h>
#include <zephyr/bluetooth/gatt.h>
#include <sys/types.h>

enum GlobalMode {
    GLOBAL_OFF,
    GLOBAL_REAR_ONLY,
    GLOBAL_ON,
};

enum BlinkerMode {
    BLINKER_OFF,
    BLINKER_LEFT,
    BLINKER_RIGHT,
    BLINKER_HAZARD,
};

enum BrakeMode {
    BRAKE_IDLE,
    BRAKE_BRAKING,
};

struct light_config {
    enum GlobalMode mode;
    int blinking_speed;
    int headlight_brightness;
    int brake_idle_brightness;
    int brake_braking_brightness;
    int blinker_brightness;
    enum BrakeMode brake_mode;
    enum BlinkerMode blinker_mode;
};

extern struct k_msgq config_msgq;

int initialize_settings(void);

ssize_t get_mode(struct bt_conn *conn, const struct bt_gatt_attr *attr,
                        void *buf, uint16_t len, uint16_t offset);
ssize_t get_blinking_speed(struct bt_conn *conn, const struct bt_gatt_attr *attr,
                        void *buf, uint16_t len, uint16_t offset);
ssize_t get_headlight_brightness(struct bt_conn *conn, const struct bt_gatt_attr *attr,
                        void *buf, uint16_t len, uint16_t offset);
ssize_t get_brake_idle_brightness(struct bt_conn *conn, const struct bt_gatt_attr *attr,
                        void *buf, uint16_t len, uint16_t offset);
ssize_t get_brake_braking_brightness(struct bt_conn *conn, const struct bt_gatt_attr *attr,
                        void *buf, uint16_t len, uint16_t offset);
ssize_t get_blinker_brightness(struct bt_conn *conn, const struct bt_gatt_attr *attr,
                        void *buf, uint16_t len, uint16_t offset);
ssize_t get_brake_mode(struct bt_conn *conn, const struct bt_gatt_attr *attr,
                        void *buf, uint16_t len, uint16_t offset);
ssize_t get_blinker_mode(struct bt_conn *conn, const struct bt_gatt_attr *attr,
                        void *buf, uint16_t len, uint16_t offset);

ssize_t set_mode(struct bt_conn *conn, const struct bt_gatt_attr *attr,
                        const void *buf, uint16_t len, uint16_t offset,
                        uint8_t flags);
ssize_t set_blinking_speed(struct bt_conn *conn, const struct bt_gatt_attr *attr,
                        const void *buf, uint16_t len, uint16_t offset,
                        uint8_t flags);
ssize_t set_headlight_brightness(struct bt_conn *conn, const struct bt_gatt_attr *attr,
                        const void *buf, uint16_t len, uint16_t offset,
                        uint8_t flags);
ssize_t set_brake_idle_brightness(struct bt_conn *conn, const struct bt_gatt_attr *attr,
                        const void *buf, uint16_t len, uint16_t offset,
                        uint8_t flags);
ssize_t set_brake_braking_brightness(struct bt_conn *conn, const struct bt_gatt_attr *attr,
                        const void *buf, uint16_t len, uint16_t offset,
                        uint8_t flags);
ssize_t set_blinker_brightness(struct bt_conn *conn, const struct bt_gatt_attr *attr,
                        const void *buf, uint16_t len, uint16_t offset,
                        uint8_t flags);
ssize_t set_brake_mode(struct bt_conn *conn, const struct bt_gatt_attr *attr,
                        const void *buf, uint16_t len, uint16_t offset,
                        uint8_t flags);
ssize_t set_blinker_mode(struct bt_conn *conn, const struct bt_gatt_attr *attr,
                        const void *buf, uint16_t len, uint16_t offset,
                        uint8_t flags);
```

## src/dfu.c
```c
#include "dfu.h"

#include <zephyr/logging/log.h>

#define DFU_OTA_ONLY 0xA8    // Enter OTA DFU mode (BLE)
#define DFU_SERIAL_ONLY 0x4E // Enter serial only mode
#define DFU_UF2 0x57    // Enter UF2 mode (CDC + MSC -- both UF2 and serial)
#define DFU_SKIP 0x6D   // Skip DFU, boot normally
#define DFU_NORMAL 0x00 // Boot normally

#define BLE_COMMAND_DFU_OTA_ONLY 0x01
#define BLE_COMMAND_DFU_SERIAL_ONLY 0x02
#define BLE_COMMAND_DFU_UF2 0x03
#define BLE_COMMAND_DFU_SKIP 0x04
#define BLE_COMMAND_DFU_NORMAL 0x00

LOG_MODULE_REGISTER(dfu);

ssize_t write_dfu(struct bt_conn *conn, const struct bt_gatt_attr *attr,
                         const void *buf, uint16_t len, uint16_t offset,
                         uint8_t flags) {

  // Check for invalid command (length/offest)
  if (len != 1U) {
    LOG_ERR("DFU: Incorrect length: %u", len);
    return BT_GATT_ERR(BT_ATT_ERR_INVALID_ATTRIBUTE_LEN);
  }

  if (offset != 0) {
    LOG_ERR("DFU: Invalid offset: %u", offset);
    return BT_GATT_ERR(BT_ATT_ERR_INVALID_OFFSET);
  }

  // Read received command
  uint8_t *value = (uint8_t *)buf;

  // Process value
  switch (*value) {
  case BLE_COMMAND_DFU_OTA_ONLY:
    LOG_INF("DFU: OTA only mode");
    NRF_POWER->GPREGRET = DFU_OTA_ONLY;
    break;
  case BLE_COMMAND_DFU_SERIAL_ONLY:
    LOG_INF("DFU: Serial only mode");
    NRF_POWER->GPREGRET = DFU_SERIAL_ONLY;
    break;
  case BLE_COMMAND_DFU_UF2:
    LOG_INF("DFU: UF2 mode");
    NRF_POWER->GPREGRET = DFU_UF2;
    break;
  case BLE_COMMAND_DFU_SKIP:
    LOG_INF("DFU: Skip mode");
    NRF_POWER->GPREGRET = DFU_SKIP;
    break;
  case BLE_COMMAND_DFU_NORMAL:
    LOG_INF("DFU: Normal mode");
    NRF_POWER->GPREGRET = DFU_NORMAL;
    break;
  default:
    LOG_ERR("DFU: Invalid command: %u", *value);
    return BT_GATT_ERR(BT_ATT_ERR_NOT_SUPPORTED);
  }

  // Reset device
  NVIC_SystemReset();
}
```

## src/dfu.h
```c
#pragma once

#include <sys/types.h>
#include <zephyr/bluetooth/gatt.h>

ssize_t write_dfu(struct bt_conn *conn,
			 const struct bt_gatt_attr *attr,
			 const void *buf,
			 uint16_t len, uint16_t offset, uint8_t flags);
```

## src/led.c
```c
#include "led.h"
#include "config.h"

#include <zephyr/device.h>
#include <zephyr/devicetree.h>
#include <zephyr/logging/log.h>
#include <zephyr/drivers/led.h>
#include <zephyr/sys/util.h>
#include <zephyr/kernel.h>

LOG_MODULE_REGISTER(led);

#define LED_PWM_NODE_ID	DT_COMPAT_GET_ANY_STATUS_OKAY(pwm_leds) // 0: Headlight, 1: Brake, 2: Left Blinker, 3: Right Blinker
const struct device *led_pwm;

struct light_config received_config = {
    .mode = GLOBAL_OFF,
    .blinking_speed = 500,
    .headlight_brightness = 100,
    .brake_idle_brightness = 50,
    .brake_braking_brightness = 100,
    .blinker_brightness = 100,
    .brake_mode = BRAKE_IDLE,
    .blinker_mode = BLINKER_OFF,
};

atomic_t left_blinker_on = ATOMIC_INIT(0);
atomic_t right_blinker_on = ATOMIC_INIT(0);
atomic_t hazards_on = ATOMIC_INIT(0);
bool last_blinker_state = false;
static K_TIMER_DEFINE(blink_timer, NULL, NULL);

int initialize_leds(void) {
    led_pwm = DEVICE_DT_GET(LED_PWM_NODE_ID);

    if (!device_is_ready(led_pwm)) {
        LOG_ERR("LED PWM device not ready");
        return -ENODEV;
    }

    return 0;
}

void updateHeadlight(struct light_config config) {
    // Check if light should be on
    if (config.mode == GLOBAL_OFF || config.mode == GLOBAL_REAR_ONLY) {
        // Turn off headlight
        led_set_brightness(led_pwm, 0, 0);
        LOG_INF("Headlight off");
    } else {
        // Turn on headlight
        led_set_brightness(led_pwm, 0, config.headlight_brightness);
        LOG_INF("Headlight on (brightness: %d)", config.headlight_brightness);
    }
}

void updateBrake(struct light_config config) {
    if (config.mode == GLOBAL_OFF) {
        // Turn off brake light
        led_set_brightness(led_pwm, 1, 0);
        LOG_INF("Brake light off");
    } else if (config.brake_mode == BRAKE_IDLE) {
        // Turn on brake light (idle)
        led_set_brightness(led_pwm, 1, config.brake_idle_brightness);
        LOG_INF("Brake light on (idle) (brightness: %d)", config.brake_idle_brightness);
    } else {
        // Turn on brake light (braking)
        led_set_brightness(led_pwm, 1, config.brake_braking_brightness);
        LOG_INF("Brake light on (braking) (brightness: %d)", config.brake_braking_brightness);
    }
}

void config_receiver_thread() {
    while (true) {
        // Wait for update
        k_msgq_get(&config_msgq, &received_config, K_FOREVER);

        // Update headlights
        updateHeadlight(received_config);

        // Update brakes (overriden by hazards)
        if (!atomic_get(&hazards_on)) {
            updateBrake(received_config);
        }

        // Update blinking lights
        atomic_set(&left_blinker_on, received_config.blinker_mode == BLINKER_LEFT);
        atomic_set(&right_blinker_on, received_config.blinker_mode == BLINKER_RIGHT);
        atomic_set(&hazards_on, received_config.blinker_mode == BLINKER_HAZARD);

        // Log changes (blinking lights)
        if (atomic_get(&left_blinker_on)) {
            LOG_INF("Left blinker on");
        } else {
            LOG_INF("Left blinker off");
        }

        if (atomic_get(&right_blinker_on)) {
            LOG_INF("Right blinker on");
        } else {
            LOG_INF("Right blinker off");
        }

        if (atomic_get(&hazards_on)) {
            LOG_INF("Hazards on");
        } else {
            LOG_INF("Hazards off");
        }
    }
}

void blinking_thread() {
    while (true) {
        // Sync with config receiver
        k_timer_status_sync(&blink_timer);
        k_timer_start(&blink_timer, K_MSEC(received_config.blinking_speed), K_FOREVER);

        // Update left blinkers (on/hazards)
        if (atomic_get(&left_blinker_on) || atomic_get(&hazards_on)) {
            led_set_brightness(led_pwm, 2, last_blinker_state ? received_config.blinker_brightness : 0);
        } else {
            led_set_brightness(led_pwm, 2, 0);
        }

        // Update right blink (on/hazards)
        if (atomic_get(&right_blinker_on) || atomic_get(&hazards_on)) {
            led_set_brightness(led_pwm, 3, last_blinker_state ? received_config.blinker_brightness : 0);
        } else {
            led_set_brightness(led_pwm, 3, 0);
        }

        // Update brakes (hazards)
        if (atomic_get(&hazards_on)) {
            led_set_brightness(led_pwm, 1, last_blinker_state ? received_config.blinker_brightness : 0);
        }

        // Update last blinker state
        last_blinker_state = !last_blinker_state;
    }
}

K_THREAD_DEFINE(config_receiver_thread_id, 1024, config_receiver_thread, NULL, NULL, NULL, 10, 0, 0);
K_THREAD_DEFINE(blinking_thread_id, 1024, blinking_thread, NULL, NULL, NULL, 10, 0, 0);
```

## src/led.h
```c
#pragma once

#include "config.h"

int initialize_leds(void);
```
